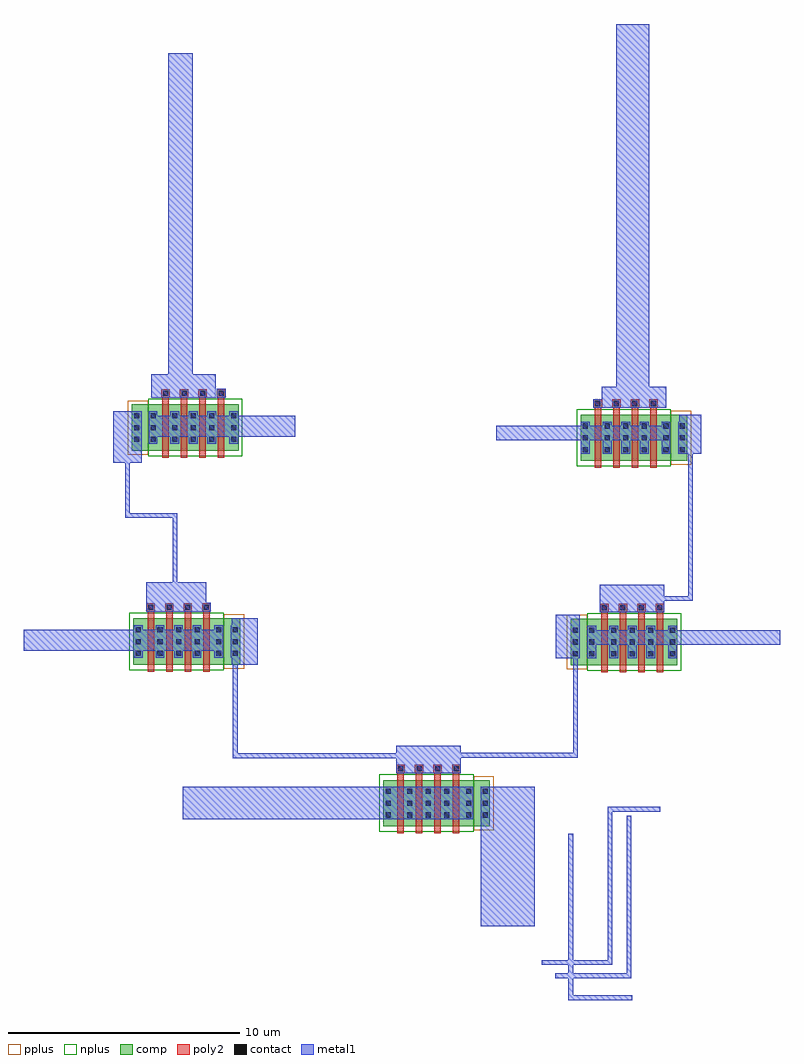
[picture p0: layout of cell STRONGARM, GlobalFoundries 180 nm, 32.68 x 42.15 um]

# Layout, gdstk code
from math import pi, radians
import gdstk
lib = gdstk.Library(unit=1e-6, precision=5e-09)
def R(c, l, rs):  # rectangles x0, y0, x1, y1
    for r in rs: c.add(gdstk.rectangle(r[:2], r[2:], *l))
def A(c, l, x, y, w, h, nx, ny, dx, dy):  # array of equal rectangles
    R(c, l, [(x+i*dx, y+j*dy, x+i*dx+w, y+j*dy+h) for i in range(nx) for j in range(ny)])
comp = (22, 0)
poly2 = (30, 0)
pplus = (31, 0)
nplus = (32, 0)
contact = (33, 0)
metal1 = (34, 0)

nfet = lib.new_cell('nfet')
R(nfet, comp, [(-0.42,0,0,2), (0,0,3.06,2), (3.06,0,3.48,2), (3.48,0,4.19,2)])
A(nfet, poly2, 0.19, -0.3, 0.28, 2.6, 4, 1, 0.8, 0)
A(nfet, poly2, 0.15, 2.3, 0.36, 0.36, 4, 1, 0.8, 0)
R(nfet, pplus, [(3.48,-0.17,4.36,2.17)])
R(nfet, nplus, [(-0.59,-0.24,3.48,2.24)])
A(nfet, contact, -0.32, 0.38, 0.22, 0.22, 1, 3, 0, 0.51)
A(nfet, contact, 0.62, 0.38, 0.22, 0.22, 3, 3, 0.8, 0.51)
A(nfet, contact, 3.16, 0.38, 0.22, 0.22, 1, 3, 0, 0.51)
A(nfet, contact, 3.87, 0.38, 0.22, 0.22, 1, 3, 0, 0.51)
A(nfet, contact, 0.22, 2.37, 0.22, 0.22, 4, 1, 0.8, 0)
A(nfet, metal1, 0.54, 0.3, 0.38, 1.4, 3, 1, 0.8, 0)
A(nfet, metal1, 0.14, 2.29, 0.38, 0.38, 4, 1, 0.8, 0)
R(nfet, metal1, [(-0.4,0.3,-0.02,1.7), (3.08,0.3,3.46,1.7), (3.79,0.3,4.17,1.7)])

strongarm = lib.new_cell('STRONGARM')
R(strongarm, metal1, [(5.01,-20.45,7.34,-14.44), (-7.85,-15.84,4.68,-14.44), (1.36,-13.85,4.14,-12.67), (-5.735,-9.16,-4.63,-7.16), (8.25,-8.88,9.29,-7.01), (-14.73,-8.56,-6.3,-7.65), (9.81,-8.29,17.95,-7.67), (10.16,-6.89,12.94,-5.7), (-9.43,-6.87,-6.84,-5.6), (-10.87,-0.44,-9.63,1.78), (13.59,-0.06,14.54,1.64), (5.67,0.53,13.01,1.15), (-9.14,0.68,-2.99,1.59), (10.24,1.93,13.02,2.85), (-9.22,2.37,-6.44,3.39), (10.87,2.52,12.28,18.51), (-8.49,3.09,-7.42,17.25)])
strongarm.add(gdstk.FlexPath([(1.8,-13.09),(-5.59,-13.09),(-5.59,-8.86),(-5.4,-8.86)], 0.2, ends="flush", simple_path=True, layer=34, datatype=0))  # metal1
strongarm.add(gdstk.FlexPath([(3.78,-13.07),(9.1,-13.07),(9.1,-8.29),(9.1,-8.29)], 0.2, ends="flush", simple_path=True, layer=34, datatype=0))  # metal1
strongarm.add(gdstk.FlexPath([(7.65,-22.02),(10.595,-22.02),(10.595,-15.405),(10.595,-15.405),(12.765,-15.405)], 0.2, ends="flush", simple_path=True, layer=34, datatype=0))  # metal1
strongarm.add(gdstk.FlexPath([(8.225,-22.595),(11.41,-22.595),(11.41,-15.69)], 0.2, ends="flush", simple_path=True, layer=34, datatype=0))  # metal1
strongarm.add(gdstk.FlexPath([(11.55,-23.54),(8.895,-23.54),(8.895,-16.455)], 0.2, ends="flush", simple_path=True, layer=34, datatype=0))  # metal1
strongarm.add(gdstk.FlexPath([(-8.19,-5.94),(-8.19,-2.72),(-10.25,-2.72),(-10.25,0.67)], 0.2, ends="flush", simple_path=True, layer=34, datatype=0))  # metal1
strongarm.add(gdstk.FlexPath([(11.55,-6.295),(14.065,-6.295),(14.065,0.79)], 0.2, ends="flush", simple_path=True, layer=34, datatype=0))  # metal1
strongarm.add(gdstk.Reference(nfet, (13.08,-9.18), rotation=pi, x_reflection=True))
strongarm.add(gdstk.Reference(nfet, (-9.57,-9.16)))
strongarm.add(gdstk.Reference(nfet, (9.74,-0.36)))
strongarm.add(gdstk.Reference(nfet, (-5.87,0.08), rotation=pi, x_reflection=True))
strongarm.add(gdstk.Reference(nfet, (1.22,-16.14)))

lib.write_gds('STRONGARM.gds')
